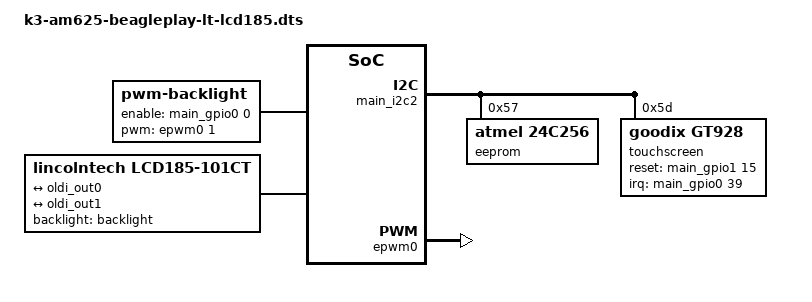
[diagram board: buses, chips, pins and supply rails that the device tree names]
// SPDX-License-Identifier: GPL-2.0
/*
 * Copyright (C) 2022 Texas Instruments Incorporated - https://www.ti.com/
 */

/dts-v1/;
/plugin/;

#include <dt-bindings/gpio/gpio.h>
#include <dt-bindings/interrupt-controller/irq.h>

/ {
	fragment@101 {
		target-path = "/";

		__overlay__ {
			backlight: backlight {
				pinctrl-names = "default";
				pinctrl-0 = <&backlight_pins_default>;

				compatible = "pwm-backlight";

				brightness-levels = <0 4 8 16 32 64 128 255>;
				default-brightness-level = <6>;

				enable-gpios = <&main_gpio0 0 GPIO_ACTIVE_HIGH>;
				pwms = <&epwm0 1 20000 0>;
			};

			lcd {
				compatible = "lincolntech,lcd185-101ct";
				backlight = <&backlight>;

				/*
				* Note that the OLDI TX 0 transmits the odd set of pixels
				* while the OLDI TX 1 transmits the even set. This is a
				* fixed configuration in the IP integration and is not
				* changeable. The properties, "dual-lvds-odd-pixels" and
				* "dual-lvds-even-pixels" have been used to merely
				* identify if a Dual Link configuration is required.
				* Swapping them will not make any difference.
				*/
				port@0 {
					dual-lvds-odd-pixels;
					lcd_in0: endpoint {
						remote-endpoint = <&oldi_out0>;
					};
				};

				port@1 {
					dual-lvds-even-pixels;
					lcd_in1: endpoint {
						remote-endpoint = <&oldi_out1>;
					};
				};
			};
		};
	};
};

&dss {
	pinctrl-0 = <&hdmi_pins_default &oldi_pins_default>;
};

&dss_ports {
	#address-cells = <1>;
	#size-cells = <0>;

	/* VP1: LVDS Output (OLDI TX 0) */
	port@0 {
		reg = <0>;
		oldi_out0: endpoint {
			remote-endpoint = <&lcd_in0>;
		};
	};

	/* VP1: LVDS Output (OLDI TX 1) */
	port@2 {
		reg = <2>;
		oldi_out1: endpoint {
			remote-endpoint = <&lcd_in1>;
		};
	};
};

&main_i2c2 {
	status = "okay";

	eeprom@57 {
		compatible = "atmel,24c256";
		reg = <0x57>;
	};

	touchscreen@5d {
	        compatible = "goodix,gt928";
	        reg = <0x5d>;

	        pinctrl-names = "default";
	        pinctrl-0 = <&touchscreen_pins_default>;

	        interrupt-parent = <&main_gpio0>;
	        interrupts = <39 IRQ_TYPE_EDGE_FALLING>;

		touchscreen-size-x = <1920>;
		touchscreen-size-y = <1200>;

		reset-gpios = <&main_gpio1 15 GPIO_ACTIVE_HIGH>;
		irq-gpios = <&main_gpio0 39 GPIO_ACTIVE_HIGH>;
	};
};

&epwm0 {
	status = "okay";
};
